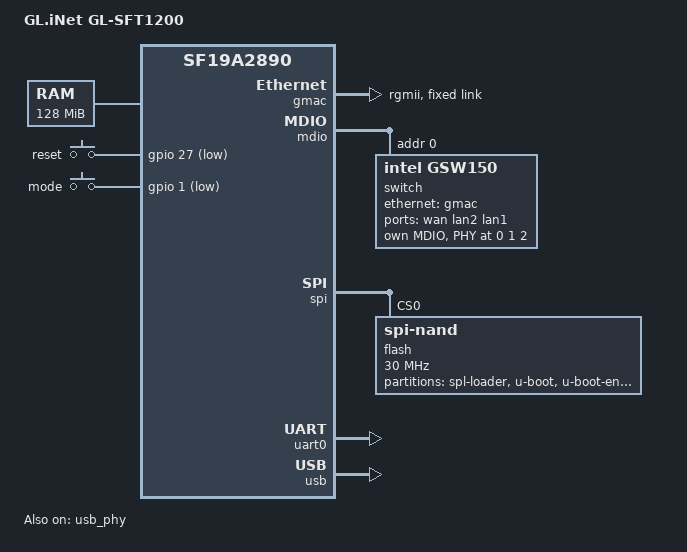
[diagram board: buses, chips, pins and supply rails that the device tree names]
// SPDX-License-Identifier: GPL-2.0-or-later OR MIT

/dts-v1/;

#include <dt-bindings/input/input.h>
#include "sf19a2890.dtsi"

/ {
	model = "GL.iNet GL-SFT1200";
	compatible = "glinet,gl-sft1200", "siflower,sf19a2890";

	aliases {
		label-mac-device = &gmac;
	};

	chosen {
		stdout-path = "serial0:115200n8";
	};

	memory@0 {
		device_type = "memory";
		reg = <0x0 0x8000000>;
	};

	keys {
		compatible = "gpio-keys";

		reset {
			label = "reset";
			gpios = <&gpio 27 GPIO_ACTIVE_LOW>;
			linux,code = <KEY_RESTART>;
		};

		mode {
			label = "mode";
			gpios = <&gpio 1 GPIO_ACTIVE_LOW>;
			linux,code = <BTN_0>;
			linux,input-type = <EV_SW>;
		};
	};
};

&gmac {
	status = "okay";
	phy-mode = "rgmii";
	snps,ps-speed = <1000>;
	nvmem-cells = <&macaddr_factory_0 0>, <&rgmii_delay_factory_b2>;
	nvmem-cell-names = "mac-address", "rgmii-delay";

	/*
	 * The FIFO sizes are not documented and this DWMAC 3.73a does not
	 * report them. Without a TX FIFO size stmmac refuses any MTU change,
	 * so DSA cannot make room for the switch tag on the conduit. The
	 * vendor firmware sends 1522-byte VLAN-tagged frames in TX
	 * store-and-forward mode, so the TX FIFO holds at least 2 KiB. An RX
	 * FIFO size below 4 KiB keeps hardware flow control off, as the
	 * vendor driver leaves it.
	 */
	tx-fifo-depth = <2048>;
	rx-fifo-depth = <2048>;

	fixed-link {
		speed = <1000>;
		full-duplex;
		pause;
	};
};

&mdio {
	switch@0 {
		compatible = "intel,gsw150";
		reg = <0>;

		ports {
			#address-cells = <1>;
			#size-cells = <0>;

			port@0 {
				reg = <0>;
				label = "wan";
				phy-handle = <&switchphy0>;
				phy-mode = "internal";
				nvmem-cells = <&macaddr_factory_0 0>;
				nvmem-cell-names = "mac-address";
			};

			port@1 {
				reg = <1>;
				label = "lan2";
				phy-handle = <&switchphy1>;
				phy-mode = "internal";
				nvmem-cells = <&macaddr_factory_0 1>;
				nvmem-cell-names = "mac-address";
			};

			port@2 {
				reg = <2>;
				label = "lan1";
				phy-handle = <&switchphy2>;
				phy-mode = "internal";
				nvmem-cells = <&macaddr_factory_0 1>;
				nvmem-cell-names = "mac-address";
			};

			/* The GMAC adds both RGMII delays (rgmii-delay above). */
			port@5 {
				reg = <5>;
				phy-mode = "rgmii-id";
				tx-internal-delay-ps = <0>;
				rx-internal-delay-ps = <0>;
				ethernet = <&gmac>;

				fixed-link {
					speed = <1000>;
					full-duplex;
				};
			};
		};

		mdio {
			#address-cells = <1>;
			#size-cells = <0>;

			switchphy0: ethernet-phy@0 {
				reg = <0>;
			};

			switchphy1: ethernet-phy@1 {
				reg = <1>;
			};

			switchphy2: ethernet-phy@2 {
				reg = <2>;
			};
		};
	};
};

&spi {
	status = "okay";

	flash@0 {
		compatible = "spi-nand";
		reg = <0>;
		spi-max-frequency = <30000000>;

		partitions {
			compatible = "fixed-partitions";
			#address-cells = <1>;
			#size-cells = <1>;

			partition@0 {
				label = "spl-loader";
				reg = <0x0 0x20000>;
				read-only;
			};

			partition@20000 {
				label = "u-boot";
				reg = <0x20000 0x60000>;
				read-only;
			};

			partition@80000 {
				label = "u-boot-env";
				reg = <0x80000 0x20000>;
				read-only;
			};

			partition@a0000 {
				label = "factory";
				reg = <0xa0000 0x20000>;
				read-only;

				nvmem-layout {
					compatible = "fixed-layout";
					#address-cells = <1>;
					#size-cells = <1>;

					macaddr_factory_0: macaddr@0 {
						compatible = "mac-base";
						reg = <0x0 0x6>;
						#nvmem-cell-cells = <1>;
					};

					rgmii_delay_factory_b2: rgmii-delay@b2 {
						reg = <0xb2 0x4>;
					};
				};
			};

			/* U-Boot loads only the first 3 MiB of this partition */
			partition@c0000 {
				label = "kernel";
				reg = <0xc0000 0x400000>;
			};

			partition@4c0000 {
				label = "ubi";
				reg = <0x4c0000 0x7940000>;
			};

			partition@7e00000 {
				label = "log";
				reg = <0x7e00000 0x40000>;
			};
		};
	};
};

&uart0 {
	status = "okay";
};

&usb {
	status = "okay";
};

&usb_phy {
	status = "okay";
};
